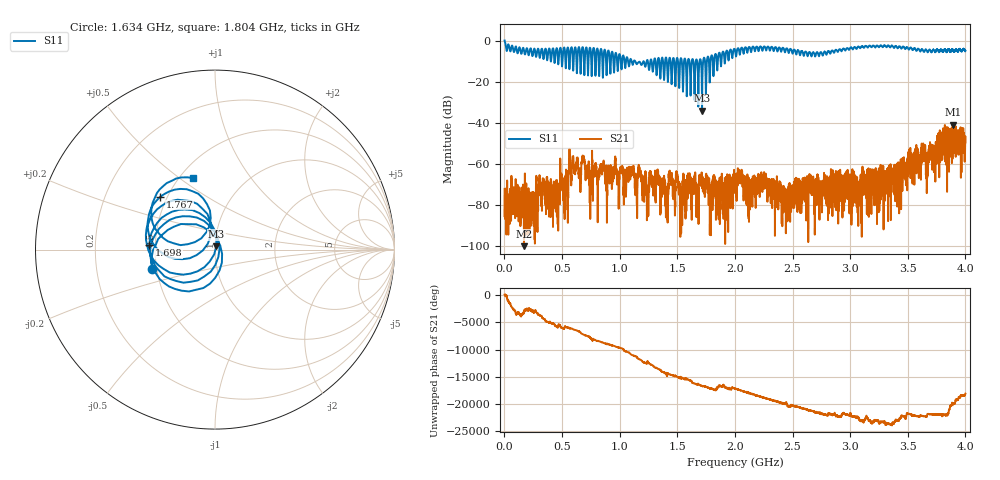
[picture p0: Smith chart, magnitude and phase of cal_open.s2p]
!Created with skrf (http://scikit-rf.org).
# GHz S RI R 50.0
!freq ReS11 ImS11 ReS21 ImS21 ReS12 ImS12 ReS22 ImS22
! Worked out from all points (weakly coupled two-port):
!   4000 points, 1 MHz to 4 GHz, reference 50 ohm
!   highest |S21| = -40.69 dB at 3.89 GHz (marker M1); lowest = -100.0 dB at 169 MHz (marker M2)
!   lowest |S11| = -33.9 dB at 1.714 GHz (marker M3), VSWR 1.04, Z = 50.7 + j1.91 ohm
!   |S11| at or under -10 dB: 1.137 GHz to 1.167 GHz (29.93 MHz wide, 2.6 % of centre); 1.173 GHz to 1.202 GHz (28.72 MHz wide, 2.42 % of centre); 1.211 GHz to 1.233 GHz (22.01 MHz wide, 1.8 % of centre) (the widest 3 of 46)
!   S12 and S22 are empty: the file has one direction only
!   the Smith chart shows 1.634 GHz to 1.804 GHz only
!   S11 on the Smith chart (normalised r, x): 1.634 GHz: 0.47, -0.12; 1.698 GHz: 0.46, +0.03; 1.767 GHz: 0.46, +0.33; 1.804 GHz: 0.58, +0.56
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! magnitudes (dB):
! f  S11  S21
! 1 MHz  0.5  -72.0
! 169 MHz  -4.4  -100.0
! 454 MHz  -3.3  -72.3
! 534 MHz  -11.1  -62.6
! 579 MHz  -3.1  -70.3
! 668 MHz  -5.9  -59.5
! 1.334 GHz  -8.3  -66.0
! 1.402 GHz  -7.9  -84.6
! 1.44 GHz  -9.4  -67.9
! 1.634 GHz  -8.7  -67.4
! 1.698 GHz  -8.7  -66.5
! 1.714 GHz  -33.9  -66.3
! 1.767 GHz  -7.5  -67.2
! 1.804 GHz  -7.6  -70.1
! 2.001 GHz  -4.3  -64.7
! 2.247 GHz  -2.9  -69.0
! 2.443 GHz  -3.7  -80.4
! 2.667 GHz  -6.9  -74.7
! 3.069 GHz  -2.6  -72.5
! 3.334 GHz  -2.1  -66.9
! 3.89 GHz  -3.8  -40.7
! 4 GHz  -4.5  -49.4
